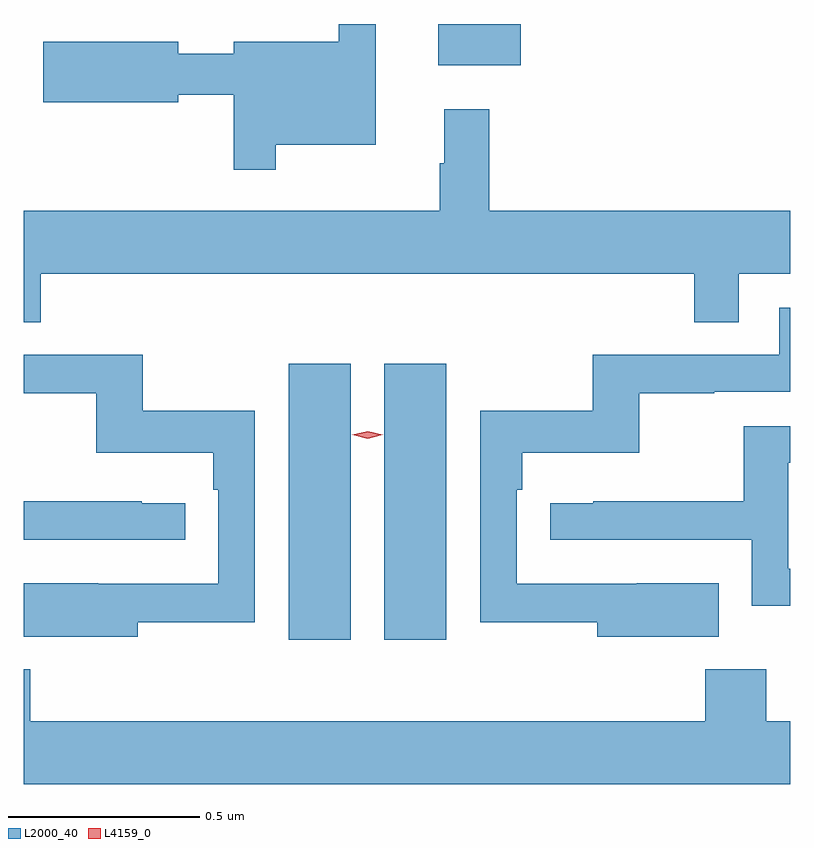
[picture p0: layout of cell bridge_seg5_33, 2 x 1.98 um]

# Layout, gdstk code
import gdstk
lib = gdstk.Library(unit=1e-6, precision=1e-09)
def R(c, l, rs):  # rectangles x0, y0, x1, y1
    for r in rs: c.add(gdstk.rectangle(r[:2], r[2:], *l))
def P(c, l, *ps):  # polygons
    for p in ps: c.add(gdstk.Polygon(p, *l))
L2000_40 = (2000, 40)
L4159_0 = (4159, 0)

bridge_seg5_33 = lib.new_cell('bridge_seg5_33')
R(bridge_seg5_33, L2000_40, [(1001.381,891.768,1001.542,892.489), (1001.63,891.768,1001.791,892.489), (1001.771,893.267,1001.986,893.375)])
P(bridge_seg5_33, L2000_40, [(1001.347,893.06),(1001.608,893.06),(1001.608,893.375),(1001.511,893.375),(1001.511,893.329),(1001.237,893.329),(1001.237,893.298),(1001.092,893.298),(1001.092,893.329),(1000.74,893.329),(1000.74,893.171),(1001.092,893.171),(1001.092,893.19),(1001.237,893.19),(1001.237,892.995),(1001.347,892.995)],
  [(1000.733,892.724),(1002.439,892.724),(1002.439,892.597),(1002.555,892.597),(1002.555,892.724),(1002.689,892.724),(1002.689,892.888),(1001.903,892.888),(1001.903,893.152),(1001.786,893.152),(1001.786,893.012),(1001.775,893.012),(1001.775,892.888),(1000.689,892.888),(1000.689,892.597),(1000.733,892.597)],
  [(1002.503,891.916),(1002.289,891.916),(1002.289,891.915),(1001.976,891.915),(1001.976,892.16),(1001.99,892.16),(1001.99,892.256),(1002.295,892.256),(1002.295,892.411),(1002.491,892.411),(1002.491,892.416),(1002.689,892.416),(1002.689,892.635),(1002.66,892.635),(1002.66,892.512),(1002.174,892.512),(1002.174,892.366),(1001.88,892.366),(1001.88,891.814),(1002.185,891.814),(1002.185,891.776),(1002.503,891.776)],
  [(1000.987,891.814),(1001.292,891.814),(1001.292,892.366),(1000.999,892.366),(1000.999,892.512),(1000.689,892.512),(1000.689,892.411),(1000.878,892.411),(1000.878,892.256),(1001.183,892.256),(1001.183,892.16),(1001.196,892.16),(1001.196,891.915),(1000.883,891.915),(1000.883,891.916),(1000.689,891.916),(1000.689,891.776),(1000.987,891.776)],
  [(1002.689,891.954),(1002.684,891.954),(1002.684,892.23),(1002.689,892.23),(1002.689,892.326),(1002.568,892.326),(1002.568,892.13),(1002.175,892.13),(1002.175,892.125),(1002.063,892.125),(1002.063,892.029),(1002.588,892.029),(1002.588,891.857),(1002.689,891.857)],
  [(1001.11,892.125),(1000.997,892.125),(1000.997,892.13),(1000.689,892.13),(1000.689,892.029),(1001.11,892.029)],
  [(1002.689,891.556),(1002.627,891.556),(1002.627,891.691),(1002.467,891.691),(1002.467,891.556),(1000.706,891.556),(1000.706,891.691),(1000.689,891.691),(1000.689,891.392),(1002.689,891.392)])
P(bridge_seg5_33, L4159_0, [(1001.586,892.293),(1001.546,892.303),(1001.546,892.303),(1001.546,892.303),(1001.586,892.313),(1001.626,892.303),(1001.626,892.303),(1001.626,892.303)])

lib.write_gds('bridge_seg5_33.gds')
